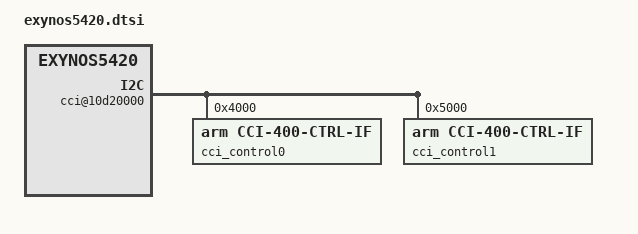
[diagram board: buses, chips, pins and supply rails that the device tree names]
/*
 * Google Peach Pit board device tree source
 *
 * Copyright (c) 2013 Google, Inc
 *
 * This program is free software; you can redistribute it and/or modify
 * it under the terms of the GNU General Public License version 2 as
 * published by the Free Software Foundation.
 */

/include/ "skeleton.dtsi"

/ {

	compatible = "samsung,exynos5420";

	cpus {
		#address-cells = <1>;
		#size-cells = <0>;

		cpu@0 {
			device_type = "cpu";
			compatible = "arm,cortex-a15";
			reg = <0>;
			cci-control-port = <&cci_control1>;
		};
		cpu@1 {
			device_type = "cpu";
			compatible = "arm,cortex-a15";
			reg = <1>;
			cci-control-port = <&cci_control1>;
		};
		cpu@2 {
			device_type = "cpu";
			compatible = "arm,cortex-a15";
			reg = <2>;
			cci-control-port = <&cci_control1>;
		};
		cpu@3 {
			device_type = "cpu";
			compatible = "arm,cortex-a15";
			reg = <3>;
			cci-control-port = <&cci_control1>;
		};
		cpu@4 {
			device_type = "cpu";
			compatible = "arm,cortex-a7";
			reg = <0x100>;
			cci-control-port = <&cci_control0>;
		};
		cpu@5 {
			device_type = "cpu";
			compatible = "arm,cortex-a7";
			reg = <0x101>;
			cci-control-port = <&cci_control0>;
		};
		cpu@6 {
			device_type = "cpu";
			compatible = "arm,cortex-a7";
			reg = <0x102>;
			cci-control-port = <&cci_control0>;
		};
		cpu@7 {
			device_type = "cpu";
			compatible = "arm,cortex-a7";
			reg = <0x103>;
			cci-control-port = <&cci_control0>;
		};
	};

	cci@10d20000 {
		compatible = "arm,cci-400";
		#address-cells = <1>;
		#size-cells = <1>;
		reg = <0x10d20000 0x1000>;
		ranges = <0x0 0x10d20000 0x6000>;

		cci_control0: slave-if@4000 {
			compatible = "arm,cci-400-ctrl-if";
			interface-type = "ace";
			reg = <0x4000 0x1000>;
		};

		cci_control1: slave-if@5000 {
			compatible = "arm,cci-400-ctrl-if";
			interface-type = "ace";
			reg = <0x5000 0x1000>;
		};
	};
};
